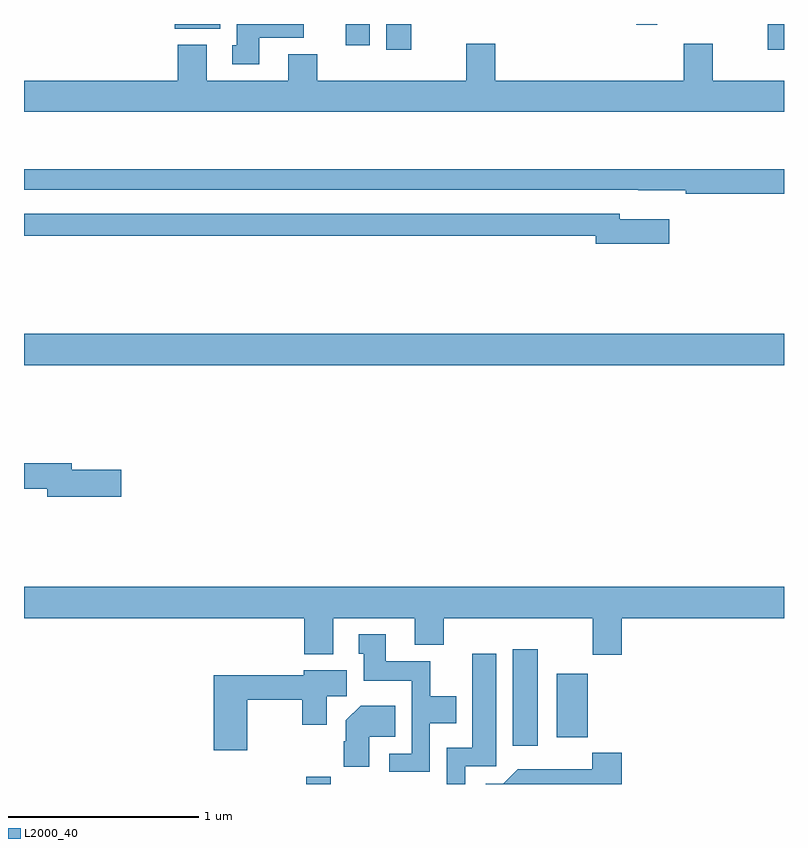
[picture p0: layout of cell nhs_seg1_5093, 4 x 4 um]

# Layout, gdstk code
import gdstk
lib = gdstk.Library(unit=1e-6, precision=1e-09)
def R(c, l, rs):  # rectangles x0, y0, x1, y1
    for r in rs: c.add(gdstk.rectangle(r[:2], r[2:], *l))
def P(c, l, *ps):  # polygons
    for p in ps: c.add(gdstk.Polygon(p, *l))
L2000_40 = (2000, 40)

nhs_seg1_5093 = lib.new_cell('nhs_seg1_5093')
R(nhs_seg1_5093, L2000_40, [(388.486,544.199,388.615,544.237), (389.573,544.401,389.704,544.909), (387,546.404,391,546.568), (388.907,548.064,389.038,548.199), (390.914,548.064,391,548.199), (388.694,548.088,388.819,548.199), (387.794,548.174,388.033,548.199), (390.222,548.194,390.334,548.199)])
P(nhs_seg1_5093, L2000_40, [(388.237,548.126),(388.473,548.126),(388.473,548.199),(388.121,548.199),(388.121,548.088),(388.097,548.088),(388.097,547.986),(388.237,547.986)],
  [(391,547.9),(390.625,547.9),(390.625,548.095),(390.473,548.095),(390.473,547.9),(389.48,547.9),(389.48,548.095),(389.327,548.095),(389.327,547.9),(388.544,547.9),(388.544,548.041),(388.391,548.041),(388.391,547.9),(387.961,547.9),(387.961,548.089),(387.809,548.089),(387.809,547.9),(387,547.9),(387,547.736),(391,547.736)],
  [(391,547.435),(387,547.435),(387,547.326),(390.232,547.326),(390.232,547.325),(390.484,547.325),(390.484,547.306),(391,547.306)],
  [(390.397,547.171),(390.136,547.171),(390.136,547.2),(387,547.2),(387,547.084),(390.008,547.084),(390.008,547.042),(390.397,547.042)],
  [(387.511,545.852),(387.25,545.852),(387.25,545.888),(387,545.888),(387,545.752),(387.122,545.752),(387.122,545.71),(387.511,545.71)],
  [(390.146,545.072),(391,545.072),(391,545.236),(387,545.236),(387,545.072),(388.475,545.072),(388.475,544.883),(388.627,544.883),(388.627,545.072),(389.057,545.072),(389.057,544.931),(389.21,544.931),(389.21,545.072),(389.993,545.072),(389.993,544.878),(390.146,544.878)],
  [(389.136,544.52),(389.275,544.52),(389.275,544.66),(389.139,544.66),(389.139,544.846),(388.903,544.846),(388.903,544.987),(388.763,544.987),(388.763,544.884),(388.787,544.884),(388.787,544.742),(389.04,544.742),(389.04,544.359),(388.923,544.359),(388.923,544.263),(389.136,544.263)],
  [(389.322,544.293),(389.485,544.293),(389.485,544.885),(389.36,544.885),(389.36,544.39),(389.226,544.39),(389.226,544.199),(389.322,544.199)],
  [(388.176,544.642),(388.465,544.642),(388.465,544.512),(388.594,544.512),(388.594,544.66),(388.699,544.66),(388.699,544.798),(388.472,544.798),(388.472,544.771),(387.998,544.771),(387.998,544.377),(388.176,544.377)],
  [(389.966,544.552),(389.968,544.552),(389.968,544.78),(389.804,544.78),(389.804,544.445),(389.966,544.445)],
  [(388.816,544.448),(388.955,544.448),(388.955,544.612),(388.772,544.612),(388.694,544.534),(388.694,544.424),(388.682,544.424),(388.682,544.29),(388.816,544.29)],
  [(390.146,544.363),(389.991,544.363),(389.991,544.276),(389.599,544.276),(389.523,544.2),(389.43,544.2),(389.43,544.199),(390.146,544.199)])

lib.write_gds('nhs_seg1_5093.gds')
